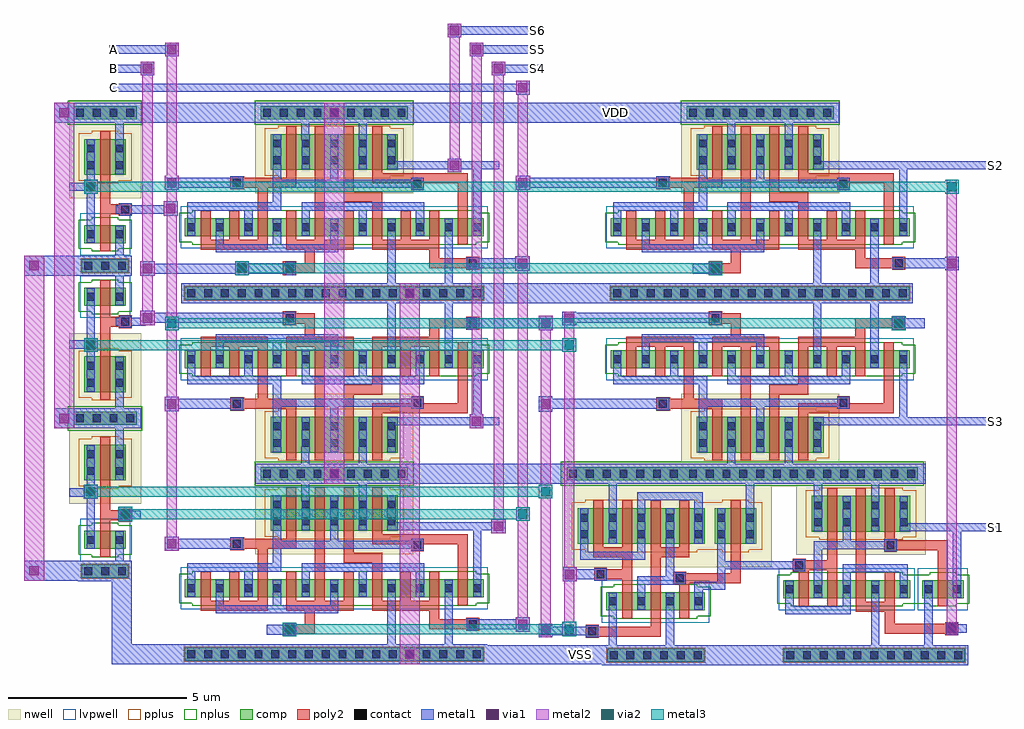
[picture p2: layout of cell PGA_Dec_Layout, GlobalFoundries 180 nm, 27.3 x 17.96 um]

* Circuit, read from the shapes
.subckt PGA_Dec_Layout A B C S1 S2 S3 S4 S5 S6 VDD VSS
XM1 VSS C AND_3_In_Layout_3/A VSS nfet_03v3 w=0.5u l=0.28u
XM2 VSS B OR_2_In_Layout_4/A VSS nfet_03v3 w=0.5u l=0.28u
XM3 VSS A AND_2_In_Layout_5/B VSS nfet_03v3 w=0.5u l=0.28u
XM4 n1 A n2 VSS nfet_03v3 w=0.5u l=0.28u m=3
XM5 n3 A n4 VSS nfet_03v3 w=0.5u l=0.28u m=3
XM6 n5 A n6 VSS nfet_03v3 w=0.5u l=0.28u m=3
XM7 n7 OR_2_In_Layout_4/A n1 VSS nfet_03v3 w=0.5u l=0.28u m=3
XM8 n8 B n3 VSS nfet_03v3 w=0.5u l=0.28u m=3
XM9 n9 B n5 VSS nfet_03v3 w=0.5u l=0.28u m=3
XM10 VSS C n7 VSS nfet_03v3 w=0.5u l=0.28u m=3
XM11 VSS AND_3_In_Layout_3/A n8 VSS nfet_03v3 w=0.5u l=0.28u m=3
XM12 VSS C n9 VSS nfet_03v3 w=0.5u l=0.28u m=3
XM13 S4 n2 VSS VSS nfet_03v3 w=0.5u l=0.28u
XM14 S5 n4 VSS VSS nfet_03v3 w=0.5u l=0.28u
XM15 S6 n6 VSS VSS nfet_03v3 w=0.5u l=0.28u
XM16 n10 OR_2_In_Layout_4/A VSS VSS nfet_03v3 w=0.5u l=0.28u
XM17 n11 AND_3_In_Layout_3/A n12 VSS nfet_03v3 w=0.5u l=0.28u m=3
XM18 n13 C n14 VSS nfet_03v3 w=0.5u l=0.28u m=3
XM19 VSS AND_3_In_Layout_3/A n10 VSS nfet_03v3 w=0.5u l=0.28u
XM20 AND_2_In_Layout_5/A n10 VSS VSS nfet_03v3 w=0.5u l=0.28u
XM21 n15 OR_2_In_Layout_4/A n11 VSS nfet_03v3 w=0.5u l=0.28u m=3
XM22 n16 B n13 VSS nfet_03v3 w=0.5u l=0.28u m=3
XM23 VSS A n15 VSS nfet_03v3 w=0.5u l=0.28u m=3
XM24 VSS AND_2_In_Layout_5/B n16 VSS nfet_03v3 w=0.5u l=0.28u m=3
XM25 n17 AND_2_In_Layout_5/A n18 VSS nfet_03v3 w=0.5u l=0.28u m=2
XM26 VSS AND_2_In_Layout_5/B n18 VSS nfet_03v3 w=0.5u l=0.28u m=2
XM27 S3 n12 VSS VSS nfet_03v3 w=0.5u l=0.28u
XM28 S2 n14 VSS VSS nfet_03v3 w=0.5u l=0.28u
XM29 S1 n17 VSS VSS nfet_03v3 w=0.5u l=0.28u
XM30 VDD C AND_3_In_Layout_3/A VDD pfet_03v3 w=1u l=0.28u
XM31 VDD B OR_2_In_Layout_4/A VDD pfet_03v3 w=1u l=0.28u
XM32 VDD A AND_2_In_Layout_5/B VDD pfet_03v3 w=1u l=0.28u
XM33 VDD A n2 VDD pfet_03v3 w=1u l=0.28u
XM34 VDD A n4 VDD pfet_03v3 w=1u l=0.28u
XM35 VDD A n6 VDD pfet_03v3 w=1u l=0.28u
XM36 n2 OR_2_In_Layout_4/A VDD VDD pfet_03v3 w=1u l=0.28u
XM37 n4 B VDD VDD pfet_03v3 w=1u l=0.28u
XM38 n6 B VDD VDD pfet_03v3 w=1u l=0.28u
XM39 VDD C n2 VDD pfet_03v3 w=1u l=0.28u
XM40 VDD AND_3_In_Layout_3/A n4 VDD pfet_03v3 w=1u l=0.28u
XM41 VDD C n6 VDD pfet_03v3 w=1u l=0.28u
XM42 S4 n2 VDD VDD pfet_03v3 w=1u l=0.28u
XM43 S5 n4 VDD VDD pfet_03v3 w=1u l=0.28u
XM44 S6 n6 VDD VDD pfet_03v3 w=1u l=0.28u
XM45 VDD OR_2_In_Layout_4/A n19 VDD pfet_03v3 w=1u l=0.28u m=2
XM46 n10 AND_3_In_Layout_3/A n19 VDD pfet_03v3 w=1u l=0.28u m=2
XM47 VDD AND_3_In_Layout_3/A n12 VDD pfet_03v3 w=1u l=0.28u
XM48 VDD C n14 VDD pfet_03v3 w=1u l=0.28u
XM49 VDD n10 AND_2_In_Layout_5/A VDD pfet_03v3 w=1u l=0.28u
XM50 n12 OR_2_In_Layout_4/A VDD VDD pfet_03v3 w=1u l=0.28u
XM51 n14 B VDD VDD pfet_03v3 w=1u l=0.28u
XM52 VDD A n12 VDD pfet_03v3 w=1u l=0.28u
XM53 VDD AND_2_In_Layout_5/B n14 VDD pfet_03v3 w=1u l=0.28u
XM54 S3 n12 VDD VDD pfet_03v3 w=1u l=0.28u
XM55 S2 n14 VDD VDD pfet_03v3 w=1u l=0.28u
XM56 n17 AND_2_In_Layout_5/A VDD VDD pfet_03v3 w=1u l=0.28u
XM57 VDD AND_2_In_Layout_5/B n17 VDD pfet_03v3 w=1u l=0.28u
XM58 S1 n17 VDD VDD pfet_03v3 w=1u l=0.28u
.ends

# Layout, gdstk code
from math import pi, radians
import gdstk
lib = gdstk.Library(unit=1e-6, precision=1e-09)
def R(c, l, rs):  # rectangles x0, y0, x1, y1
    for r in rs: c.add(gdstk.rectangle(r[:2], r[2:], *l))
def A(c, l, x, y, w, h, nx, ny, dx, dy):  # array of equal rectangles
    R(c, l, [(x+i*dx, y+j*dy, x+i*dx+w, y+j*dy+h) for i in range(nx) for j in range(ny)])
nwell = (21, 0)
comp = (22, 0)
poly2 = (30, 0)
pplus = (31, 0)
nplus = (32, 0)
contact = (33, 0)
metal1 = (34, 0)
via1 = (35, 0)
metal2 = (36, 0)
via2 = (38, 0)
metal3 = (42, 0)
lvpwell = (204, 0)

pmos_3p3_mnvuar = lib.new_cell('pmos_3p3_MNVUAR')
R(pmos_3p3_mnvuar, nwell, [(-1.01,-1.15,1.01,1.15)])
R(pmos_3p3_mnvuar, comp, [(-0.58,-0.5,0.58,0.5)])
R(pmos_3p3_mnvuar, poly2, [(-0.14,-0.72,0.14,0.72)])
R(pmos_3p3_mnvuar, pplus, [(-0.37,-0.73,0.37,-0.66), (-0.74,-0.66,0.74,0.66), (-0.37,0.66,0.37,0.73)])
R(pmos_3p3_mnvuar, contact, [(-0.51,-0.345,-0.29,-0.125), (0.29,-0.345,0.51,-0.125), (-0.51,0.125,-0.29,0.345), (0.29,0.125,0.51,0.345)])
R(pmos_3p3_mnvuar, metal1, [(-0.515,-0.49,-0.285,0.49), (0.285,-0.49,0.515,0.49)])

nmos_3p3_jcgst2 = lib.new_cell('nmos_3p3_JCGST2')
R(nmos_3p3_jcgst2, comp, [(-1.38,-0.25,1.38,0.25)])
A(nmos_3p3_jcgst2, poly2, -0.94, -0.47, 0.28, 0.94, 3, 1, 0.8, 0)
R(nmos_3p3_jcgst2, nplus, [(-1.17,-0.48,1.17,-0.41), (-1.54,-0.41,1.54,0.41), (-1.17,0.41,1.17,0.48)])
A(nmos_3p3_jcgst2, contact, -1.31, -0.11, 0.22, 0.22, 4, 1, 0.8, 0)
A(nmos_3p3_jcgst2, metal1, -1.315, -0.24, 0.23, 0.48, 4, 1, 0.8, 0)
R(nmos_3p3_jcgst2, lvpwell, [(-1.5,-0.59,1.5,0.59)])

nfet_03v3_nulyt4 = lib.new_cell('nfet_03v3_NULYT4')
R(nfet_03v3_nulyt4, comp, [(-0.58,-0.25,0.58,0.25)])
R(nfet_03v3_nulyt4, poly2, [(-0.14,-0.47,0.14,0.47)])
R(nfet_03v3_nulyt4, nplus, [(-0.37,-0.48,0.37,-0.41), (-0.74,-0.41,0.74,0.41), (-0.37,0.41,0.37,0.48)])
R(nfet_03v3_nulyt4, contact, [(-0.51,-0.11,-0.29,0.11), (0.29,-0.11,0.51,0.11)])
R(nfet_03v3_nulyt4, metal1, [(-0.515,-0.24,-0.285,0.24), (0.285,-0.24,0.515,0.24)])
R(nfet_03v3_nulyt4, lvpwell, [(-0.7,-0.59,0.7,0.59)])

and_3_in_layout = lib.new_cell('AND_3_In_Layout')
R(and_3_in_layout, nwell, [(2.09,3.515,5.71,3.615), (2.09,3.615,6.36,3.85), (2.09,3.85,6.51,4.14)])
R(and_3_in_layout, comp, [(0.12,-1.435,8.475,-1.075), (2.24,3.615,6.36,3.975)])
A(and_3_in_layout, poly2, 0.56, -0.04, 1.88, 0.28, 3, 1, 2.4, 0)
R(and_3_in_layout, poly2, [(2.865,-0.755,3.235,-0.69), (2.865,-0.69,3.755,-0.41), (7.995,-0.595,8.36,-0.555), (6.96,-0.555,8.36,-0.275), (2.865,-0.41,3.235,-0.365), (3.475,-0.41,3.755,-0.04), (6.96,-0.275,7.24,-0.04), (7.995,-0.275,8.36,-0.23), (7.76,0.665,8.04,1.82), (2.16,0.81,2.44,1.7), (5.36,0.815,5.64,1.3), (3.76,0.875,4.04,2.15), (4.56,1.3,5.64,1.58), (4.56,1.58,4.84,2.15), (6.45,1.63,6.81,1.82), (1.395,1.66,1.785,1.7), (1.395,1.7,3.24,1.98), (5.36,1.82,8.04,2.1), (1.395,1.98,1.785,2.025)])
A(and_3_in_layout, pplus, 3.47, 1.97, 0.06, 0.07, 3, 2, 0.8, 1.39)
R(and_3_in_layout, pplus, [(0.09,-1.465,8.5,-1.045)])
A(and_3_in_layout, nplus, 2.67, 0.11, 0.06, 0.07, 3, 2, 2.4, 0.89)
R(and_3_in_layout, nplus, [(2.08,3.455,6.52,4.135)])
A(and_3_in_layout, contact, 0.19, -1.365, 0.22, 0.22, 18, 1, 0.47, 0)
A(and_3_in_layout, contact, 2.31, 3.685, 0.22, 0.22, 9, 1, 0.47, 0)
R(and_3_in_layout, contact, [(2.94,-0.67,3.16,-0.45), (8.065,-0.525,8.285,-0.305), (6.52,1.7,6.74,1.92), (1.465,1.73,1.685,1.95)])
A(and_3_in_layout, metal1, 0.185, 0.685, 0.23, 0.375, 5, 1, 1.6, 0)
R(and_3_in_layout, metal1, [(0.02,-1.535,8.575,-0.975), (5.785,-0.975,6.015,0.49), (7.385,-0.975,7.615,0.49), (2.925,-0.745,3.225,-0.705), (2.415,-0.705,3.225,-0.425), (8.005,-0.585,8.295,-0.56), (8.005,-0.56,8.9,-0.28), (2.925,-0.425,3.225,-0.375), (8.005,-0.28,8.295,-0.24), (0.985,-0.11,4.415,0.12), (0.985,0.12,1.215,0.48), (2.585,0.12,2.815,0.49), (4.185,0.12,4.415,0.49), (8.185,0.685,8.415,2.21), (0.185,1.06,2.815,1.29), (3.385,1.06,6.815,1.29), (2.585,1.29,2.815,1.695), (6.46,1.64,6.8,1.695), (1.395,1.67,1.75,1.7), (2.585,1.695,6.8,1.925), (0.995,1.7,1.75,1.98), (2.585,1.925,2.815,2.35), (4.185,1.925,4.415,2.35), (6.46,1.925,6.8,1.98), (1.395,1.98,1.75,2.015), (5.785,2.21,8.915,2.44), (3.375,3.045,3.605,3.515), (4.985,3.045,5.215,3.515), (2.09,3.515,6.51,4.075)])
and_3_in_layout.add(gdstk.Reference(pmos_3p3_mnvuar, (4.7,2.7)))
and_3_in_layout.add(gdstk.Reference(pmos_3p3_mnvuar, (5.5,2.7)))
and_3_in_layout.add(gdstk.Reference(pmos_3p3_mnvuar, (3.1,2.7)))
and_3_in_layout.add(gdstk.Reference(pmos_3p3_mnvuar, (3.9,2.7)))
and_3_in_layout.add(gdstk.Reference(nmos_3p3_jcgst2, (3.9,0.59)))
and_3_in_layout.add(gdstk.Reference(nmos_3p3_jcgst2, (1.5,0.59)))
and_3_in_layout.add(gdstk.Reference(nmos_3p3_jcgst2, (6.3,0.59)))
and_3_in_layout.add(gdstk.Reference(nfet_03v3_nulyt4, (7.9,0.59)))
and_3_in_layout.add(gdstk.Label('A', (1.065,1.81), layer=34, texttype=10))
and_3_in_layout.add(gdstk.Label('B', (2.465,-0.575), layer=34, texttype=10))
and_3_in_layout.add(gdstk.Label('C', (8.85,-0.43), layer=34, texttype=10))
and_3_in_layout.add(gdstk.Label('OUT', (8.8,2.31), layer=34, texttype=10))
and_3_in_layout.add(gdstk.Label('VDD', (4.3,3.795), layer=22, texttype=0))

inverter_layout = lib.new_cell('Inverter_Layout')
R(inverter_layout, nwell, [(-0.31,3.655,1.71,4.28)])
R(inverter_layout, comp, [(0.05,-0.52,1.35,-0.16), (-0.185,3.755,1.585,4.115)])
R(inverter_layout, poly2, [(0.56,0.865,0.84,1.09), (-0.04,1.05,0.32,1.09), (-0.04,1.09,0.84,1.37), (-0.04,1.37,0.32,1.41), (0.56,1.37,0.84,2.23)])
R(inverter_layout, pplus, [(0.02,-0.55,1.38,-0.13)])
R(inverter_layout, nplus, [(-0.345,3.595,1.745,4.275)])
A(inverter_layout, contact, 0.12, -0.45, 0.22, 0.22, 3, 1, 0.47, 0)
A(inverter_layout, contact, -0.115, 3.825, 0.22, 0.22, 4, 1, 0.47, 0)
R(inverter_layout, contact, [(0.03,1.12,0.25,1.34)])
R(inverter_layout, metal1, [(-0.05,-0.62,1.45,-0.06), (0.185,-0.06,0.415,0.49), (0.985,0.705,1.215,1.75), (-0.03,1.06,0.31,1.115), (-0.3,1.115,0.31,1.345), (-0.03,1.345,0.31,1.4), (0.985,1.75,1.7,1.98), (0.985,1.98,1.215,2.35), (0.185,3.045,0.415,3.655), (-0.31,3.655,1.71,4.215)])
inverter_layout.add(gdstk.Reference(pmos_3p3_mnvuar, (0.7,2.7)))
inverter_layout.add(gdstk.Reference(nfet_03v3_nulyt4, (0.7,0.535)))
inverter_layout.add(gdstk.Label('IN', (-0.2,1.23), layer=34, texttype=10))
inverter_layout.add(gdstk.Label('OUT', (1.395,1.865), layer=34, texttype=10))
inverter_layout.add(gdstk.Label('VSS', (0.7,-0.34), layer=22, texttype=0))
inverter_layout.add(gdstk.Label('VDD', (0.7,3.95), layer=34, texttype=10))

pmos_3p3_mevuar = lib.new_cell('pmos_3p3_MEVUAR')
R(pmos_3p3_mevuar, nwell, [(-1.41,-1.15,1.41,1.15)])
R(pmos_3p3_mevuar, comp, [(-0.98,-0.5,0.98,0.5)])
R(pmos_3p3_mevuar, poly2, [(-0.54,-0.72,-0.26,0.72), (0.26,-0.72,0.54,0.72)])
R(pmos_3p3_mevuar, pplus, [(-0.77,-0.73,0.77,-0.66), (-1.14,-0.66,1.14,0.66), (-0.77,0.66,0.77,0.73)])
A(pmos_3p3_mevuar, contact, -0.91, -0.345, 0.22, 0.22, 3, 2, 0.8, 0.47)
A(pmos_3p3_mevuar, metal1, -0.915, -0.49, 0.23, 0.98, 3, 1, 0.8, 0)

nmos_3p3_gggst2 = lib.new_cell('nmos_3p3_GGGST2')
R(nmos_3p3_gggst2, comp, [(-0.58,-0.25,0.58,0.25)])
R(nmos_3p3_gggst2, poly2, [(-0.14,-0.47,0.14,0.47)])
R(nmos_3p3_gggst2, nplus, [(-0.37,-0.48,0.37,-0.41), (-0.74,-0.41,0.74,0.41), (-0.37,0.41,0.37,0.48)])
R(nmos_3p3_gggst2, contact, [(-0.51,-0.11,-0.29,0.11), (0.29,-0.11,0.51,0.11)])
R(nmos_3p3_gggst2, metal1, [(-0.515,-0.24,-0.285,0.24), (0.285,-0.24,0.515,0.24)])
R(nmos_3p3_gggst2, lvpwell, [(-0.7,-0.59,0.7,0.59)])

or_2_in_layout = lib.new_cell('OR_2_In_Layout')
R(or_2_in_layout, nwell, [(0,3.85,5.86,4.505)])
R(or_2_in_layout, comp, [(1.255,-1.1,3.965,-0.74), (0.12,3.98,5.715,4.34)])
R(or_2_in_layout, poly2, [(0.66,-0.42,1.02,-0.4), (0.66,-0.4,2.75,-0.12), (0.66,-0.12,1.02,-0.06), (2.47,-0.12,2.75,0.37), (1.67,0.81,1.95,1.205), (2.47,0.81,2.75,1.82), (3.27,0.83,3.55,1.06), (3.11,1.06,3.55,1.1), (3.11,1.1,4.99,1.38), (0.89,1.165,1.25,1.205), (0.89,1.205,1.95,1.485), (3.11,1.38,3.47,1.42), (4.71,1.38,4.99,2.23), (0.89,1.485,1.25,1.525), (1.67,1.485,1.95,1.82), (0.87,1.82,1.95,2.1), (2.47,1.82,3.55,2.1)])
R(or_2_in_layout, pplus, [(1.225,-1.13,3.995,-0.71), (2.18,1.97,2.24,2.04), (2.18,3.36,2.24,3.43)])
R(or_2_in_layout, nplus, [(2.18,0.11,2.24,0.18), (2.98,0.11,3.04,0.18), (2.18,1,2.24,1.07), (2.98,1,3.04,1.07), (-0.04,3.82,5.875,4.5)])
A(or_2_in_layout, contact, 1.325, -1.03, 0.22, 0.22, 6, 1, 0.47, 0)
A(or_2_in_layout, contact, 0.19, 4.05, 0.22, 0.22, 7, 1, 0.47, 0)
A(or_2_in_layout, contact, 3.545, 4.05, 0.22, 0.22, 5, 1, 0.47, 0)
R(or_2_in_layout, contact, [(0.73,-0.35,0.95,-0.13), (3.18,1.13,3.4,1.35), (0.96,1.235,1.18,1.455)])
R(or_2_in_layout, metal1, [(1.11,-1.2,4.11,-0.64), (1.295,-0.64,1.525,0.49), (2.895,-0.64,3.125,0.49), (0.67,-0.41,1.01,-0.355), (0.5,-0.355,1.01,-0.125), (0.67,-0.125,1.01,-0.07), (3.695,0.465,3.925,0.91), (2.095,0.62,2.325,1.06), (3.695,0.91,4.565,1.14), (2.095,1.06,3.125,1.07), (2.095,1.07,3.46,1.29), (4.335,1.14,4.565,1.49), (0.9,1.175,1.24,1.205), (0.485,1.205,1.24,1.485), (2.895,1.29,3.46,1.41), (2.895,1.41,3.125,2.35), (0.9,1.485,1.24,1.515), (4.335,1.49,5.435,1.72), (4.335,1.72,4.565,2.35), (0.495,1.75,2.325,1.98), (0.495,1.98,0.725,2.35), (2.095,1.98,2.325,2.32), (3.695,2.92,3.925,3.42), (1.295,3.045,1.525,3.88), (2.095,3.045,2.325,3.42), (5.135,3.045,5.365,3.88), (2.095,3.42,3.925,3.65), (0,3.88,5.86,4.44)])
or_2_in_layout.add(gdstk.Reference(pmos_3p3_mnvuar, (4.85,2.7)))
or_2_in_layout.add(gdstk.Reference(pmos_3p3_mevuar, (1.41,2.7)))
or_2_in_layout.add(gdstk.Reference(pmos_3p3_mevuar, (3.01,2.7)))
or_2_in_layout.add(gdstk.Reference(nmos_3p3_gggst2, (2.61,0.59)))
or_2_in_layout.add(gdstk.Reference(nmos_3p3_gggst2, (1.81,0.59)))
or_2_in_layout.add(gdstk.Reference(nmos_3p3_gggst2, (3.41,0.59)))
or_2_in_layout.add(gdstk.Label('VDD', (2.885,4.16), layer=34, texttype=10))
or_2_in_layout.add(gdstk.Label('VSS', (2.65,-0.92), layer=34, texttype=10))
or_2_in_layout.add(gdstk.Label('A', (1.07,1.345), layer=30, texttype=10))
or_2_in_layout.add(gdstk.Label('B', (0.84,-0.24), layer=30, texttype=10))
or_2_in_layout.add(gdstk.Label('OUT', (5.285,1.64), layer=34, texttype=10))

nmos_3p3_bggst2 = lib.new_cell('nmos_3p3_BGGST2')
R(nmos_3p3_bggst2, comp, [(-0.98,-0.25,0.98,0.25)])
R(nmos_3p3_bggst2, poly2, [(-0.54,-0.47,-0.26,0.47), (0.26,-0.47,0.54,0.47)])
R(nmos_3p3_bggst2, nplus, [(-0.77,-0.48,0.77,-0.41), (-1.14,-0.41,1.14,0.41), (-0.77,0.41,0.77,0.48)])
A(nmos_3p3_bggst2, contact, -0.91, -0.11, 0.22, 0.22, 3, 1, 0.8, 0)
A(nmos_3p3_bggst2, metal1, -0.915, -0.24, 0.23, 0.48, 3, 1, 0.8, 0)
R(nmos_3p3_bggst2, lvpwell, [(-1.1,-0.59,1.1,0.59)])

and_2_in_layout = lib.new_cell('AND_2_In_Layout')
R(and_2_in_layout, nwell, [(0.61,3.64,1.165,3.85), (1.295,3.64,1.35,3.85), (1.65,3.64,4.11,3.85), (0.49,3.85,4.11,4.165)])
R(and_2_in_layout, comp, [(0.14,-1.44,5.205,-1.08), (0.71,3.64,3.89,4)])
R(and_2_in_layout, poly2, [(4.665,-0.69,5.025,-0.65), (2.96,-0.65,5.025,-0.37), (2.96,-0.37,3.24,-0.04), (4.665,-0.37,5.025,-0.33), (2.16,-0.04,3.24,0.24), (4.45,0.75,4.73,1.685), (1.36,0.76,1.64,1.125), (2.16,0.81,2.44,2.23), (2.96,0.81,3.24,1.085), (0.56,0.84,0.84,1.085), (0.395,1.085,0.84,1.125), (0.395,1.125,1.64,1.405), (0.395,1.405,0.755,1.445), (1.36,1.405,1.64,2.23), (2.945,1.645,3.305,1.685), (2.945,1.685,4.73,1.965), (2.945,1.965,3.305,2.005), (2.96,2.005,3.24,2.155)])
R(and_2_in_layout, pplus, [(0.11,-1.47,5.23,-1.05), (1.87,1.97,1.93,2.04), (2.67,1.97,2.73,2.04), (1.87,3.36,1.93,3.43), (2.67,3.36,2.73,3.43)])
R(and_2_in_layout, nplus, [(1.87,0.11,1.93,0.18), (3.84,0.18,3.85,1), (1.87,1,1.93,1.07), (0.55,3.48,4.05,4.16)])
A(and_2_in_layout, contact, 0.21, -1.37, 0.22, 0.22, 11, 1, 0.47, 0)
A(and_2_in_layout, contact, 0.78, 3.71, 0.22, 0.22, 7, 1, 0.47, 0)
R(and_2_in_layout, contact, [(4.735,-0.62,4.955,-0.4), (0.465,1.155,0.685,1.375), (3.015,1.715,3.235,1.935)])
R(and_2_in_layout, metal1, [(0.04,-1.54,5.305,-0.98), (2.585,-0.98,2.815,0.49), (4.075,-0.98,4.305,0.49), (4.675,-0.68,5.015,-0.625), (4.675,-0.625,5.26,-0.395), (4.675,-0.395,5.015,-0.34), (0.185,-0.11,2.015,0.12), (0.185,0.12,0.415,0.49), (1.785,0.12,2.015,0.48), (4.875,0.475,5.105,2.21), (3.385,0.6,3.615,1.06), (0.985,0.685,1.215,1.71), (1.785,0.685,2.015,1.06), (1.785,1.06,3.615,1.29), (0.405,1.095,0.745,1.15), (0.205,1.15,0.745,1.38), (0.405,1.38,0.745,1.435), (2.955,1.655,3.295,1.71), (0.985,1.71,3.295,1.94), (1.785,1.94,2.015,2.44), (2.955,1.94,3.295,1.995), (3.385,2.21,5.425,2.44), (0.985,3.045,1.215,3.54), (2.585,3.045,2.815,3.54), (0.49,3.54,4.11,4.1)])
and_2_in_layout.add(gdstk.Reference(pmos_3p3_mnvuar, (2.3,2.7)))
and_2_in_layout.add(gdstk.Reference(pmos_3p3_mnvuar, (1.5,2.7)))
and_2_in_layout.add(gdstk.Reference(pmos_3p3_mnvuar, (3.1,2.7)))
and_2_in_layout.add(gdstk.Reference(nmos_3p3_gggst2, (4.59,0.59)))
and_2_in_layout.add(gdstk.Reference(nmos_3p3_bggst2, (1.1,0.59)))
and_2_in_layout.add(gdstk.Reference(nmos_3p3_bggst2, (2.7,0.59)))
and_2_in_layout.add(gdstk.Label('A', (0.355,1.265), layer=34, texttype=10))
and_2_in_layout.add(gdstk.Label('B', (5.19,-0.51), layer=34, texttype=10))
and_2_in_layout.add(gdstk.Label('OUT', (5.125,2.325), layer=34, texttype=10))
and_2_in_layout.add(gdstk.Label('VDD', (2.3,3.82), layer=22, texttype=0))
and_2_in_layout.add(gdstk.Label('VSS', (2.67,-1.26), layer=22, texttype=0))

pga_dec_layout = lib.new_cell('PGA_Dec_Layout')
R(pga_dec_layout, metal1, [(18.675,-10.13,24.18,-9.57), (1.965,-10.1,4.03,-9.54), (12.46,-10.1,15.675,-9.57), (10.165,-9.95,10.425,-9.69), (1.965,-9.54,2.525,-7.765), (13.91,-9.34,14.29,-9.285), (13.91,-9.285,15.195,-9.055), (6.805,-9.255,7.065,-8.995), (25.335,-9.23,25.595,-8.97), (13.26,-9.185,13.66,-9.125), (12.425,-9.125,13.66,-8.845), (13.91,-9.055,14.29,-8.96), (13.26,-8.845,13.66,-8.785), (14.575,-7.78,14.965,-7.725), (-0.495,-7.765,2.525,-7.205), (14.575,-7.725,15.33,-7.445), (14.575,-7.445,14.965,-7.39), (19.77,-7.44,20.98,-7.21), (3.44,-6.925,3.84,-6.865), (3.44,-6.865,4.92,-6.585), (3.44,-6.585,3.84,-6.525), (12.58,-6.44,12.98,-6.04), (25.81,-6.38,26.81,-6.15), (2.135,-6.095,2.535,-5.695), (1.175,-5.47,1.575,-5.07), (9.06,-5.05,14.565,-4.49), (8.055,-4.9,8.315,-4.64), (0.345,-3.5,0.905,-2.94), (11.975,-3.49,12.355,-3.11), (24.48,-3.415,26.81,-3.185), (13.91,-3.03,14.29,-2.955), (3.44,-3.015,3.84,-2.955), (3.44,-2.955,5.255,-2.675), (13.91,-2.955,17.155,-2.675), (3.44,-2.675,3.84,-2.615), (13.91,-2.675,14.29,-2.6), (1.185,-1.36,1.565,-0.98), (23.775,-0.76,24.175,-0.36), (13.9,-0.755,14.3,-0.695), (12.375,-0.695,14.3,-0.415), (2.07,-0.63,2.91,-0.61), (2.07,-0.61,3.16,-0.55), (14.57,-0.61,14.95,-0.55), (2.07,-0.55,6.37,-0.4), (14.57,-0.55,18.6,-0.27), (13.9,-0.415,14.3,-0.355), (2.76,-0.4,6.37,-0.27), (2.76,-0.27,3.16,-0.21), (14.57,-0.27,14.95,-0.23), (11.125,0,16.63,0.56), (10.165,0.15,10.425,0.41), (2.76,0.77,3.16,0.83), (-0.495,0.775,1.025,1.335), (5.41,0.79,5.79,0.83), (2.76,0.83,6.62,1.11), (18.72,0.845,18.98,1.105), (13.255,0.915,13.66,0.975), (25.28,0.925,25.66,0.975), (11.945,0.975,13.66,1.255), (24.41,0.975,25.66,1.255), (2.76,1.11,3.16,1.17), (5.41,1.11,5.79,1.17), (13.255,1.255,13.66,1.315), (25.28,1.255,25.66,1.305), (3.41,2.45,3.81,2.51), (2.07,2.51,3.81,2.74), (3.41,2.74,3.81,2.85), (1.185,3.07,1.565,3.45), (3.44,3.175,3.84,3.235), (13.26,3.175,13.665,3.235), (3.44,3.235,5.195,3.515), (13.26,3.235,17.18,3.515), (13.26,3.515,13.665,3.575), (11.36,3.67,11.74,4.05), (24.48,3.745,26.81,3.975), (0.345,5.05,6.245,5.61), (9.06,5.05,17.89,5.61), (8.055,5.2,8.315,5.46), (13.27,5.84,13.65,5.915), (1.885,5.915,13.65,6.145), (13.27,6.145,13.65,6.22), (2.77,6.375,3.15,6.45), (12.59,6.375,12.97,6.45), (1.885,6.45,3.15,6.68), (12.59,6.45,13.995,6.68), (2.77,6.68,3.15,6.755), (12.59,6.68,12.97,6.755), (3.45,6.91,3.83,6.985), (11.975,6.91,12.355,6.985), (1.885,6.985,3.83,7.215), (11.975,6.985,13.995,7.215), (3.45,7.215,3.83,7.29), (11.975,7.215,12.355,7.29), (11.36,7.445,11.74,7.52), (11.36,7.52,13.995,7.75), (11.36,7.75,11.74,7.825)])
R(pga_dec_layout, via1, [(10.165,-9.95,10.425,-9.69), (13.97,-9.28,14.23,-9.02), (6.805,-9.255,7.065,-8.995), (25.335,-9.23,25.595,-8.97), (13.33,-9.115,13.59,-8.855), (14.635,-7.715,14.895,-7.455), (-0.345,-7.615,-0.085,-7.355), (3.51,-6.855,3.77,-6.595), (12.65,-6.37,12.91,-6.11), (2.205,-6.025,2.465,-5.765), (1.245,-5.4,1.505,-5.14), (8.055,-4.9,8.315,-4.64), (12.035,-3.43,12.295,-3.17), (0.495,-3.35,0.755,-3.09), (3.51,-2.945,3.77,-2.685), (13.97,-2.945,14.23,-2.685), (1.245,-1.3,1.505,-1.04), (23.845,-0.69,24.105,-0.43), (13.97,-0.685,14.23,-0.425), (14.63,-0.55,14.89,-0.29), (2.83,-0.54,3.09,-0.28), (10.165,0.15,10.425,0.41), (2.83,0.84,3.09,1.1), (18.72,0.845,18.98,1.105), (5.47,0.85,5.73,1.11), (-0.345,0.925,-0.085,1.185), (13.325,0.985,13.585,1.245), (25.335,0.985,25.595,1.245), (3.48,2.52,3.74,2.78), (1.245,3.13,1.505,3.39), (3.51,3.245,3.77,3.505), (13.33,3.245,13.59,3.505), (11.42,3.73,11.68,3.99), (0.495,5.2,0.755,5.46), (8.055,5.2,8.315,5.46), (13.33,5.9,13.59,6.16), (2.83,6.435,3.09,6.695), (12.65,6.435,12.91,6.695), (3.51,6.97,3.77,7.23), (12.035,6.97,12.295,7.23), (11.42,7.505,11.68,7.765)])
R(pga_dec_layout, metal2, [(10.015,-10.1,10.575,0.56), (13.96,-9.34,14.24,-5.46), (6.745,-9.315,7.125,-8.935), (14.57,-9.315,14.95,-8.935), (25.325,-9.29,25.605,3.45), (13.26,-9.185,13.66,-8.785), (14.62,-8.935,14.9,-7.78), (13.32,-8.785,13.6,-6.085), (14.575,-7.78,14.965,-7.39), (-0.495,-7.765,0.065,1.335), (14.62,-7.39,14.9,-1.36), (3.44,-6.925,3.84,-6.525), (3.5,-6.525,3.78,-3.015), (12.58,-6.44,12.98,-6.04), (2.135,-6.095,2.535,-5.695), (13.27,-6.085,13.65,-5.705), (12.64,-6.04,12.92,6.375), (13.32,-5.705,13.6,0.915), (1.175,-5.47,1.575,-5.07), (13.91,-5.46,14.29,-5.08), (13.96,-5.08,14.24,-0.755), (7.905,-5.05,8.465,5.61), (0.345,-3.5,0.905,5.61), (11.975,-3.49,12.355,-3.11), (12.025,-3.11,12.305,6.91), (3.44,-3.015,3.84,-2.615), (3.5,-2.615,3.78,-0.75), (1.185,-1.36,1.565,-0.98), (14.57,-1.36,14.95,-0.98), (14.62,-0.98,14.9,-0.23), (13.9,-0.755,14.3,-0.355), (3.45,-0.75,3.83,-0.37), (23.785,-0.75,24.165,-0.37), (2.76,-0.61,3.16,-0.21), (3.5,-0.37,3.78,2.45), (2.82,-0.21,3.1,0.77), (2.76,0.77,3.16,1.17), (18.66,0.785,19.04,1.165), (5.41,0.79,5.79,1.17), (13.255,0.915,13.66,1.315), (2.82,1.17,3.1,6.375), (13.32,1.315,13.6,3.175), (3.41,2.45,3.81,2.85), (3.5,2.85,3.78,3.175), (1.185,3.07,1.565,3.45), (3.44,3.175,3.84,3.575), (13.26,3.175,13.665,3.575), (3.5,3.575,3.78,6.91), (13.32,3.575,13.6,5.84), (11.36,3.67,11.74,4.05), (11.41,4.05,11.69,7.445), (13.27,5.84,13.65,6.22), (2.77,6.375,3.15,6.755), (12.59,6.375,12.97,6.755), (3.45,6.91,3.83,7.29), (11.975,6.91,12.355,7.29), (11.36,7.445,11.74,7.825)])
R(pga_dec_layout, via2, [(6.805,-9.255,7.065,-8.995), (14.63,-9.255,14.89,-8.995), (2.205,-6.025,2.465,-5.765), (13.33,-6.025,13.59,-5.765), (1.245,-5.4,1.505,-5.14), (13.97,-5.4,14.23,-5.14), (1.245,-1.3,1.505,-1.04), (14.63,-1.3,14.89,-1.04), (3.51,-0.69,3.77,-0.43), (23.845,-0.69,24.105,-0.43), (18.72,0.845,18.98,1.105), (5.47,0.855,5.73,1.115), (1.245,3.13,1.505,3.39), (25.335,3.13,25.595,3.39)])
R(pga_dec_layout, metal3, [(6.745,-9.315,7.125,-9.265), (14.57,-9.315,14.95,-9.265), (6.745,-9.265,14.95,-8.985), (6.745,-8.985,7.125,-8.935), (14.57,-8.985,14.95,-8.905), (2.135,-6.095,2.535,-6.035), (13.27,-6.085,13.65,-6.035), (2.135,-6.035,13.65,-5.755), (2.135,-5.755,2.535,-5.695), (13.27,-5.755,13.65,-5.705), (1.185,-5.46,1.565,-5.41), (13.91,-5.46,14.29,-5.41), (1.185,-5.41,14.29,-5.13), (1.185,-5.13,1.565,-5.08), (13.91,-5.13,14.29,-5.08), (1.185,-1.36,1.565,-1.31), (14.57,-1.36,14.95,-1.31), (1.185,-1.31,14.95,-1.03), (1.185,-1.03,1.565,-0.98), (14.57,-1.03,14.95,-0.98), (3.45,-0.75,3.83,-0.7), (23.785,-0.75,24.165,-0.7), (3.45,-0.7,24.165,-0.42), (3.45,-0.42,3.83,-0.37), (23.785,-0.42,24.165,-0.37), (18.66,0.785,19.04,0.835), (5.41,0.79,5.79,0.835), (5.41,0.835,19.04,1.115), (5.41,1.115,5.79,1.17), (11.17,1.115,11.945,1.12), (18.66,1.115,19.04,1.165), (1.185,3.07,1.565,3.12), (25.275,3.07,25.655,3.12), (1.185,3.12,25.655,3.4), (1.185,3.4,1.565,3.45), (25.275,3.4,25.655,3.45)])
pga_dec_layout.add(gdstk.Reference(and_3_in_layout, (3.885,-8.565)))
pga_dec_layout.add(gdstk.Reference(and_3_in_layout, (3.885,-0.975), x_reflection=True))
pga_dec_layout.add(gdstk.Reference(inverter_layout, (2.475,-7.155), rotation=pi, x_reflection=True))
pga_dec_layout.add(gdstk.Reference(and_3_in_layout, (15.8,-0.975), x_reflection=True))
pga_dec_layout.add(gdstk.Reference(or_2_in_layout, (14.565,-8.93)))
pga_dec_layout.add(gdstk.Reference(and_2_in_layout, (20.62,-8.59)))
pga_dec_layout.add(gdstk.Reference(and_3_in_layout, (3.885,1.535)))
pga_dec_layout.add(gdstk.Reference(inverter_layout, (2.475,1.395), rotation=pi, x_reflection=True))
pga_dec_layout.add(gdstk.Reference(inverter_layout, (2.475,0.715), rotation=pi))
pga_dec_layout.add(gdstk.Reference(and_3_in_layout, (15.8,1.535)))
pga_dec_layout.add(gdstk.Label('A', (2,7.1), layer=34, texttype=10))
pga_dec_layout.add(gdstk.Label('B', (2,6.565), layer=34, texttype=10))
pga_dec_layout.add(gdstk.Label('C', (2,6.03), layer=34, texttype=10))
pga_dec_layout.add(gdstk.Label('S1', (26.695,-6.265), layer=34, texttype=10))
pga_dec_layout.add(gdstk.Label('S3', (26.695,-3.3), layer=34, texttype=10))
pga_dec_layout.add(gdstk.Label('S2', (26.695,3.86), layer=34, texttype=10))
pga_dec_layout.add(gdstk.Label('S6', (13.88,7.635), layer=34, texttype=10))
pga_dec_layout.add(gdstk.Label('S5', (13.88,7.1), layer=34, texttype=10))
pga_dec_layout.add(gdstk.Label('S4', (13.88,6.565), layer=34, texttype=10))
pga_dec_layout.add(gdstk.Label('VDD', (16.045,5.33), layer=34, texttype=10))
pga_dec_layout.add(gdstk.Label('VSS', (15.07,-9.82), layer=34, texttype=10))

lib.write_gds('PGA_Dec_Layout.gds')
